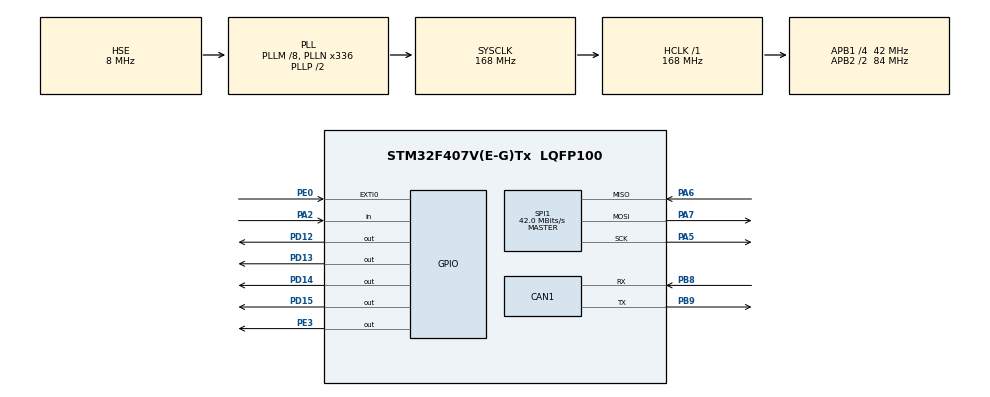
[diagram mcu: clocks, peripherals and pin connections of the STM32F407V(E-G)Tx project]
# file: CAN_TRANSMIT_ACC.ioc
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CAN1.BS1=CAN_BS1_2TQ
CAN1.BS2=CAN_BS2_4TQ
CAN1.CalculateTimeQuantum=380.95238095238096
Mcu.Family=STM32F4
Mcu.Name=STM32F407V(E-G)Tx
Mcu.Package=LQFP100
NVIC.PriorityGroup=NVIC_PRIORITYGROUP_0
PA13.Mode=Serial_Wire
PA13.Signal=SYS_JTMS-SWDIO
PA14.Mode=Serial_Wire
PA14.Signal=SYS_JTCK-SWCLK
PA2.Signal=GPIO_Input
PA5.Mode=Full_Duplex_Master
PA5.Signal=SPI1_SCK
PA6.Mode=Full_Duplex_Master
PA6.Signal=SPI1_MISO
PA7.Mode=Full_Duplex_Master
PA7.Signal=SPI1_MOSI
PB8.Mode=Master
PB8.Signal=CAN1_RX
PB9.Mode=Master
PB9.Signal=CAN1_TX
PD12.Signal=GPIO_Output
PD13.Signal=GPIO_Output
PD14.Signal=GPIO_Output
PD15.Signal=GPIO_Output
PE0.Signal=GPXTI0
PE3.Signal=GPIO_Output
PH0-OSC_IN.Mode=HSE-External-Oscillator
PH0-OSC_IN.Signal=RCC_OSC_IN
PH1-OSC_OUT.Mode=HSE-External-Oscillator
PH1-OSC_OUT.Signal=RCC_OSC_OUT
ProjectManager.HeapSize=0x200
ProjectManager.StackSize=0x400
ProjectManager.TargetToolchain=SW4STM32
RCC.48MHZClocksFreq_Value=48000000
RCC.AHBFreq_Value=168000000
RCC.APB1CLKDivider=RCC_HCLK_DIV4
RCC.APB1Freq_Value=42000000
RCC.APB1TimFreq_Value=84000000
RCC.APB2CLKDivider=RCC_HCLK_DIV2
RCC.APB2Freq_Value=84000000
RCC.APB2TimFreq_Value=168000000
RCC.CortexFreq_Value=168000000
RCC.HCLKFreq_Value=168000000
RCC.HSE_VALUE=8000000
RCC.HSI_VALUE=16000000
RCC.LSE_VALUE=32768
RCC.PLLM=8
RCC.PLLN=336
RCC.PLLQ=7
RCC.PLLSourceVirtual=RCC_PLLSOURCE_HSE
RCC.SYSCLKFreq_VALUE=168000000
RCC.SYSCLKSource=RCC_SYSCLKSOURCE_PLLCLK
RCC.VCOOutputFreq_Value=336000000
SPI1.CalculateBaudRate=42.0 MBits/s
SPI1.Direction=SPI_DIRECTION_2LINES
SPI1.Mode=SPI_MODE_MASTER
SPI1.VirtualType=VM_MASTER
board=STM32F4DISCOVERY

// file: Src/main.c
/**
  ******************************************************************************
  * @file           : main.c
  * @brief          : Main program body
  ******************************************************************************
  ** This notice applies to any and all portions of this file
  * that are not between comment pairs USER CODE BEGIN and
  * USER CODE END. Other portions of this file, whether
  * inserted by the user or by software development tools
  * are owned by their respective copyright owners.
  *
  * COPYRIGHT(c) 2018 STMicroelectronics
  *
  * Redistribution and use in source and binary forms, with or without modification,
  * are permitted provided that the following conditions are met:
  *   1. Redistributions of source code must retain the above copyright notice,
  *      this list of conditions and the following disclaimer.
  *   2. Redistributions in binary form must reproduce the above copyright notice,
  *      this list of conditions and the following disclaimer in the documentation
  *      and/or other materials provided with the distribution.
  *   3. Neither the name of STMicroelectronics nor the names of its contributors
  *      may be used to endorse or promote products derived from this software
  *      without specific prior written permission.
  *
  * THIS SOFTWARE IS PROVIDED BY THE COPYRIGHT HOLDERS AND CONTRIBUTORS "AS IS"
  * AND ANY EXPRESS OR IMPLIED WARRANTIES, INCLUDING, BUT NOT LIMITED TO, THE
  * IMPLIED WARRANTIES OF MERCHANTABILITY AND FITNESS FOR A PARTICULAR PURPOSE ARE
  * DISCLAIMED. IN NO EVENT SHALL THE COPYRIGHT HOLDER OR CONTRIBUTORS BE LIABLE
  * FOR ANY DIRECT, INDIRECT, INCIDENTAL, SPECIAL, EXEMPLARY, OR CONSEQUENTIAL
  * DAMAGES (INCLUDING, BUT NOT LIMITED TO, PROCUREMENT OF SUBSTITUTE GOODS OR
  * SERVICES; LOSS OF USE, DATA, OR PROFITS; OR BUSINESS INTERRUPTION) HOWEVER
  * CAUSED AND ON ANY THEORY OF LIABILITY, WHETHER IN CONTRACT, STRICT LIABILITY,
  * OR TORT (INCLUDING NEGLIGENCE OR OTHERWISE) ARISING IN ANY WAY OUT OF THE USE
  * OF THIS SOFTWARE, EVEN IF ADVISED OF THE POSSIBILITY OF SUCH DAMAGE.
  *
  ******************************************************************************
  */
#include "main.h"
#include "stm32f4xx_hal.h"

/* USER CODE BEGIN Includes */
#include "dwt_stm32_delay.h"
/* USER CODE END Includes */

CAN_HandleTypeDef hcan1;

SPI_HandleTypeDef hspi1;

/* USER CODE BEGIN PV */
/* Private variables ---------------------------------------------------------*/

CAN_TxHeaderTypeDef   TxHeader;
CAN_RxHeaderTypeDef   RxHeader;
uint8_t               TxData[3];
uint32_t              TxMailbox;

/* USER CODE END PV */

void SystemClock_Config(void);
static void MX_GPIO_Init(void);
static void MX_CAN1_Init(void);
static void MX_SPI1_Init(void);

/* USER CODE BEGIN PFP */
/* Private function prototypes -----------------------------------------------*/

static HAL_StatusTypeDef CAN_Polling(void);

/* USER CODE END PFP */

/* USER CODE BEGIN 0 */

//variable declarations for DHT11
uint8_t Rh_byte1, Rh_byte2, Temp_byte1, Temp_byte2;
uint16_t sum, RH, TEMP;
uint8_t check = 0;

//variable declaration for SPI
uint8_t txbuf[2],rxbuf[2],xbuf[2],ybuf[2],zbuf[2];

GPIO_InitTypeDef GPIO_InitStruct;

//setting the gpio for output
void set_gpio_output (void)
{
	/*Configure GPIO pin output: PA2 */
  GPIO_InitStruct.Pin = GPIO_PIN_2;
  GPIO_InitStruct.Mode = GPIO_MODE_OUTPUT_PP;
  GPIO_InitStruct.Speed = GPIO_SPEED_FREQ_LOW;
  HAL_GPIO_Init(GPIOA, &GPIO_InitStruct);
}
//setting the gpio for input
void set_gpio_input (void)
{
	/*Configure GPIO pin input: PA2 */
  GPIO_InitStruct.Pin = GPIO_PIN_2;
  GPIO_InitStruct.Mode = GPIO_MODE_INPUT;
  GPIO_InitStruct.Pull = GPIO_NOPULL;
  HAL_GPIO_Init(GPIOA, &GPIO_InitStruct);
}
//start the dht11 to send data
void DHT11_start (void)
{
	set_gpio_output ();  // set the pin as output
	HAL_GPIO_WritePin (GPIOA, GPIO_PIN_2, 0);   // pull the pin low
	DWT_Delay_us (18000);   // wait for 18ms
	set_gpio_input ();   // set as input
}
//checking the response from sensor
void check_response (void)
{
	DWT_Delay_us (40);
	if (!(HAL_GPIO_ReadPin (GPIOA, GPIO_PIN_2)))  // if the pin is low
	{
		DWT_Delay_us (80);  // wait for 80us
		if ((HAL_GPIO_ReadPin (GPIOA, GPIO_PIN_2))) check = 1;  // now if the pin is high response = ok i.e. check =1
	}
	while ((HAL_GPIO_ReadPin (GPIOA, GPIO_PIN_2)));   // wait for the pin to go low
}
//reading the data from the DHT11 sensor
uint8_t read_data (void)
{
	uint8_t i=0,j;
	for (j=0;j<8;j++)
	{
		while (!(HAL_GPIO_ReadPin (GPIOA, GPIO_PIN_2)));   // wait for the pin to go high
		DWT_Delay_us (40);   // wait for 40 us
		if ((HAL_GPIO_ReadPin (GPIOA, GPIO_PIN_2)) == 0)   // if the pin is low
		{
			i&= ~(1<<(7-j));   // write 0
		}
		else i|= (1<<(7-j));  // if the pin is high, write 1
		while ((HAL_GPIO_ReadPin (GPIOA, GPIO_PIN_2)));  // wait for the pin to go low
	}
	return i;
}

/* USER CODE END 0 */

int main(void)
{

  /* MCU Configuration----------------------------------------------------------*/

  /* Reset of all peripherals, Initializes the Flash interface and the Systick. */
  HAL_Init();

  /* Configure the system clock */
  SystemClock_Config();

  /* Initialize all configured peripherals */
  MX_GPIO_Init();
  MX_CAN1_Init();
  MX_SPI1_Init();
  /* USER CODE BEGIN 2 */

  /*##-3- Start the CAN peripheral ###########################################*/
  if (HAL_CAN_Start(&hcan1) != HAL_OK)
  {
    /* Start Error */
      _Error_Handler(__FILE__, __LINE__);
  }

  HAL_GPIO_WritePin(GPIOE,GPIO_PIN_3,GPIO_PIN_RESET);
   txbuf[0]=0x20;
   txbuf[1]=0x17;
   HAL_SPI_Transmit(&hspi1,txbuf,2,50);
   HAL_GPIO_WritePin(GPIOE,GPIO_PIN_3,GPIO_PIN_SET);

   	HAL_GPIO_WritePin(GPIOE,GPIO_PIN_3,GPIO_PIN_RESET);
 	txbuf[0]=0x20|0x80;
 	HAL_SPI_Transmit(&hspi1,txbuf,1,50);
 	HAL_SPI_Receive(&hspi1,rxbuf,1,50);
 	HAL_GPIO_WritePin(GPIOE,GPIO_PIN_3,GPIO_PIN_SET);
 //....................................................

  HAL_Delay(1000);

  /* USER CODE END 2 */

  /* Infinite loop */
  while (1)
  {

  /* USER CODE BEGIN 3 */

	  //.......................................................
	  //SPI CODE
	  	  		  //GET the X axis value
	  	  		  HAL_GPIO_WritePin(GPIOE,GPIO_PIN_3,GPIO_PIN_RESET);
	  	  		  txbuf[0]=0x29|0x80;
	  	  		  HAL_SPI_Transmit(&hspi1,txbuf,1,50);
	  	  		  HAL_SPI_Receive(&hspi1,xbuf,1,50);
	  	  		  HAL_GPIO_WritePin(GPIOE,GPIO_PIN_3,GPIO_PIN_SET);
	  	  		  HAL_Delay(10);
	  	  		//GET the Y axis value
	  	  		  HAL_GPIO_WritePin(GPIOE,GPIO_PIN_3,GPIO_PIN_RESET);
	  	  		  txbuf[0]=0x2B|0x80;
	  	  		  HAL_SPI_Transmit(&hspi1,txbuf,1,50);
	  	  		  HAL_SPI_Receive(&hspi1,ybuf,1,50);
	  	  		  HAL_GPIO_WritePin(GPIOE,GPIO_PIN_3,GPIO_PIN_SET);
	  	  		  HAL_Delay(10);
	  	  		//GET the Z axis value
	  	  		  HAL_GPIO_WritePin(GPIOE,GPIO_PIN_3,GPIO_PIN_RESET);
	  	  		  txbuf[0]=0x2D|0x80;
	  	  		  HAL_SPI_Transmit(&hspi1,txbuf,1,50);
	  	  		  HAL_SPI_Receive(&hspi1,zbuf,1,50);
	  	  		  HAL_GPIO_WritePin(GPIOE,GPIO_PIN_3,GPIO_PIN_SET);
	  	  		  HAL_Delay(10);
	  	  //.............................................................

	  	  	  //DHT11 Code

	  	  	  DHT11_start ();
	  	  	 	  	  		check_response ();
	  	  	 	  	  		Rh_byte1 = read_data ();
	  	  	 	  	  		Rh_byte2 = read_data ();
	  	  	 	  	  		Temp_byte1 = read_data ();
	  	  	 	  	  		Temp_byte2 = read_data ();
	  	  	 	  	  		sum = read_data();

	  	  //	 	  	  		TEMP=(Temp_byte1<<8)|Temp_byte2;
	  	  	 	  	  		//TEMP=(((Temp_byte1<<8)|Temp_byte2)-32)*(0.5556);
	  	  //	 	  	  		RH=(Rh_byte1<<8)|Rh_byte2;

	  	  	  //.......................................................

	  	         			if(CAN_Polling() == HAL_OK)
	  		  	  	        {
	  		  	  	     		HAL_GPIO_WritePin(GPIOD,GPIO_PIN_13,SET);
	  		  	  	        }
	  		  	  	        else
	  		  	  	        {
	  		  	  	       		HAL_GPIO_WritePin(GPIOD,GPIO_PIN_13,RESET);
	  		  	  	     		HAL_Delay(100);
	  		  	  	        }

  }
  /* USER CODE END 3 */

}

void SystemClock_Config(void)
{

  RCC_OscInitTypeDef RCC_OscInitStruct;
  RCC_ClkInitTypeDef RCC_ClkInitStruct;

    /**Configure the main internal regulator output voltage
    */
  __HAL_RCC_PWR_CLK_ENABLE();

  __HAL_PWR_VOLTAGESCALING_CONFIG(PWR_REGULATOR_VOLTAGE_SCALE1);

    /**Initializes the CPU, AHB and APB busses clocks
    */
  RCC_OscInitStruct.OscillatorType = RCC_OSCILLATORTYPE_HSE;
  RCC_OscInitStruct.HSEState = RCC_HSE_ON;
  RCC_OscInitStruct.PLL.PLLState = RCC_PLL_ON;
  RCC_OscInitStruct.PLL.PLLSource = RCC_PLLSOURCE_HSE;
  RCC_OscInitStruct.PLL.PLLM = 8;
  RCC_OscInitStruct.PLL.PLLN = 336;
  RCC_OscInitStruct.PLL.PLLP = RCC_PLLP_DIV2;
  RCC_OscInitStruct.PLL.PLLQ = 7;
  if (HAL_RCC_OscConfig(&RCC_OscInitStruct) != HAL_OK)
  {
    _Error_Handler(__FILE__, __LINE__);
  }

    /**Initializes the CPU, AHB and APB busses clocks
    */
  RCC_ClkInitStruct.ClockType = RCC_CLOCKTYPE_HCLK|RCC_CLOCKTYPE_SYSCLK
                              |RCC_CLOCKTYPE_PCLK1|RCC_CLOCKTYPE_PCLK2;
  RCC_ClkInitStruct.SYSCLKSource = RCC_SYSCLKSOURCE_PLLCLK;
  RCC_ClkInitStruct.AHBCLKDivider = RCC_SYSCLK_DIV1;
  RCC_ClkInitStruct.APB1CLKDivider = RCC_HCLK_DIV4;
  RCC_ClkInitStruct.APB2CLKDivider = RCC_HCLK_DIV2;

  if (HAL_RCC_ClockConfig(&RCC_ClkInitStruct, FLASH_LATENCY_5) != HAL_OK)
  {
    _Error_Handler(__FILE__, __LINE__);
  }

    /**Configure the Systick interrupt time
    */
  HAL_SYSTICK_Config(HAL_RCC_GetHCLKFreq()/1000);

    /**Configure the Systick
    */
  HAL_SYSTICK_CLKSourceConfig(SYSTICK_CLKSOURCE_HCLK);

  /* SysTick_IRQn interrupt configuration */
  HAL_NVIC_SetPriority(SysTick_IRQn, 0, 0);
}

/* CAN1 init function */
static void MX_CAN1_Init(void)
{

  hcan1.Instance = CAN1;
  hcan1.Init.Prescaler = 21;
  hcan1.Init.Mode = CAN_MODE_NORMAL;
  hcan1.Init.SyncJumpWidth = CAN_SJW_1TQ;
  hcan1.Init.TimeSeg1 = CAN_BS1_13TQ;
  hcan1.Init.TimeSeg2 = CAN_BS2_2TQ;
  hcan1.Init.TimeTriggeredMode = DISABLE;
  hcan1.Init.AutoBusOff = DISABLE;
  hcan1.Init.AutoWakeUp = DISABLE;
  hcan1.Init.AutoRetransmission = ENABLE;
  hcan1.Init.ReceiveFifoLocked = DISABLE;
  hcan1.Init.TransmitFifoPriority = DISABLE;
  if (HAL_CAN_Init(&hcan1) != HAL_OK)
  {
    _Error_Handler(__FILE__, __LINE__);
  }

}

/* SPI1 init function */
static void MX_SPI1_Init(void)
{

  /* SPI1 parameter configuration*/
  hspi1.Instance = SPI1;
  hspi1.Init.Mode = SPI_MODE_MASTER;
  hspi1.Init.Direction = SPI_DIRECTION_2LINES;
  hspi1.Init.DataSize = SPI_DATASIZE_8BIT;
  hspi1.Init.CLKPolarity = SPI_POLARITY_LOW;
  hspi1.Init.CLKPhase = SPI_PHASE_1EDGE;
  hspi1.Init.NSS = SPI_NSS_SOFT;
  hspi1.Init.BaudRatePrescaler = SPI_BAUDRATEPRESCALER_2;
  hspi1.Init.FirstBit = SPI_FIRSTBIT_MSB;
  hspi1.Init.TIMode = SPI_TIMODE_DISABLE;
  hspi1.Init.CRCCalculation = SPI_CRCCALCULATION_DISABLE;
  hspi1.Init.CRCPolynomial = 10;
  if (HAL_SPI_Init(&hspi1) != HAL_OK)
  {
    _Error_Handler(__FILE__, __LINE__);
  }

}

/** Configure pins as
        * Analog
        * Input
        * Output
        * EVENT_OUT
        * EXTI
*/
static void MX_GPIO_Init(void)
{

  GPIO_InitTypeDef GPIO_InitStruct;

  /* GPIO Ports Clock Enable */
  __HAL_RCC_GPIOE_CLK_ENABLE();
  __HAL_RCC_GPIOH_CLK_ENABLE();
  __HAL_RCC_GPIOA_CLK_ENABLE();
  __HAL_RCC_GPIOD_CLK_ENABLE();
  __HAL_RCC_GPIOB_CLK_ENABLE();

  /*Configure GPIO pin Output Level */
  HAL_GPIO_WritePin(GPIOE, GPIO_PIN_3, GPIO_PIN_RESET);

  /*Configure GPIO pin Output Level */
  HAL_GPIO_WritePin(GPIOD, GPIO_PIN_12|GPIO_PIN_13|GPIO_PIN_14|GPIO_PIN_15, GPIO_PIN_RESET);

  /*Configure GPIO pin : PE3 */
  GPIO_InitStruct.Pin = GPIO_PIN_3;
  GPIO_InitStruct.Mode = GPIO_MODE_OUTPUT_PP;
  GPIO_InitStruct.Pull = GPIO_NOPULL;
  GPIO_InitStruct.Speed = GPIO_SPEED_FREQ_LOW;
  HAL_GPIO_Init(GPIOE, &GPIO_InitStruct);

  /*Configure GPIO pin : PA2 */
  GPIO_InitStruct.Pin = GPIO_PIN_2;
  GPIO_InitStruct.Mode = GPIO_MODE_INPUT;
  GPIO_InitStruct.Pull = GPIO_NOPULL;
  HAL_GPIO_Init(GPIOA, &GPIO_InitStruct);

  /*Configure GPIO pins : PD12 PD13 PD14 PD15 */
  GPIO_InitStruct.Pin = GPIO_PIN_12|GPIO_PIN_13|GPIO_PIN_14|GPIO_PIN_15;
  GPIO_InitStruct.Mode = GPIO_MODE_OUTPUT_PP;
  GPIO_InitStruct.Pull = GPIO_NOPULL;
  GPIO_InitStruct.Speed = GPIO_SPEED_FREQ_LOW;
  HAL_GPIO_Init(GPIOD, &GPIO_InitStruct);

  /*Configure GPIO pin : PE0 */
  GPIO_InitStruct.Pin = GPIO_PIN_0;
  GPIO_InitStruct.Mode = GPIO_MODE_IT_RISING;
  GPIO_InitStruct.Pull = GPIO_NOPULL;
  HAL_GPIO_Init(GPIOE, &GPIO_InitStruct);

}

/* USER CODE BEGIN 4 */

HAL_StatusTypeDef CAN_Polling(void)
{
  CAN_FilterTypeDef  sFilterConfig;
  sFilterConfig.FilterBank = 0;
    sFilterConfig.FilterMode = CAN_FILTERMODE_IDMASK;
    sFilterConfig.FilterScale = CAN_FILTERSCALE_32BIT;
    sFilterConfig.FilterIdHigh = 0x13<<5;
    sFilterConfig.FilterIdLow = 0x0000;
    sFilterConfig.FilterMaskIdHigh = 0x0000;
    sFilterConfig.FilterMaskIdLow = 0x0000;
    sFilterConfig.FilterFIFOAssignment = CAN_RX_FIFO0;
    sFilterConfig.FilterActivation = ENABLE;
    sFilterConfig.SlaveStartFilterBank = 14;

    if(HAL_CAN_ConfigFilter(&hcan1, &sFilterConfig) != HAL_OK)
    {
      /* Filter configuration Error */
        _Error_Handler(__FILE__, __LINE__);
    }

    uint8_t num;
    num = HAL_CAN_GetTxMailboxesFreeLevel(&hcan1);
    for(int i = 0; i<num;i++)
    {
  	  HAL_GPIO_TogglePin(GPIOD,GPIO_PIN_13);
  	  	HAL_Delay(1000);
  	  HAL_GPIO_TogglePin(GPIOD,GPIO_PIN_13);
  	  	HAL_Delay(1000);
    }
    /*##-4- Start the Transmission process #####################################*/
    TxHeader.StdId = 0x11;
    TxHeader.RTR = CAN_RTR_DATA;
    TxHeader.IDE = CAN_ID_STD;
    TxHeader.DLC = 4;
    TxHeader.TransmitGlobalTime = DISABLE;
    TxData[0] = Temp_byte1;
    TxData[1] = xbuf[0];
    TxData[2] = ybuf[0];
    TxData[3] = zbuf[0];
    //TxData[2] = 'l';
   // TxData[3] = 'l';
   // TxData[4] = 'o';

    /* Request transmission */
    while(HAL_CAN_AddTxMessage(&hcan1, &TxHeader, TxData, &TxMailbox) != HAL_OK)
    {
      /* Transmission request Error */
  		HAL_GPIO_WritePin(GPIOD,GPIO_PIN_15,SET);
  	//  MyErrorHandler();
    }

    /* Wait transmission complete */
    num = HAL_CAN_GetTxMailboxesFreeLevel(&hcan1);
      for(int i = 0; i<num;i++)
      {
    	  HAL_GPIO_TogglePin(GPIOD,GPIO_PIN_12);
    	  	HAL_Delay(100);
    	  HAL_GPIO_TogglePin(GPIOD,GPIO_PIN_12);
    	  	HAL_Delay(100);
      }
    while(HAL_CAN_GetTxMailboxesFreeLevel(&hcan1) != 3) {
  		HAL_GPIO_TogglePin(GPIOD,GPIO_PIN_15);
  		HAL_Delay(100);
    }
      num = HAL_CAN_GetTxMailboxesFreeLevel(&hcan1);
         for(int i = 0; i<num;i++)
         {
       	  HAL_GPIO_TogglePin(GPIOD,GPIO_PIN_13);
       	  	HAL_Delay(100);
       	  HAL_GPIO_TogglePin(GPIOD,GPIO_PIN_13);
       	  	HAL_Delay(100);
         }

    return HAL_OK;
}

/* USER CODE END 4 */

void _Error_Handler(char *file, int line)
{
  /* USER CODE BEGIN Error_Handler_Debug */

	  HAL_GPIO_WritePin(GPIOD,GPIO_PIN_14,SET);

  /* User can add his own implementation to report the HAL error return state */
  while(1)
  {
  }
  /* USER CODE END Error_Handler_Debug */
}

/************************ (C) COPYRIGHT STMicroelectronics *****END OF FILE****/
